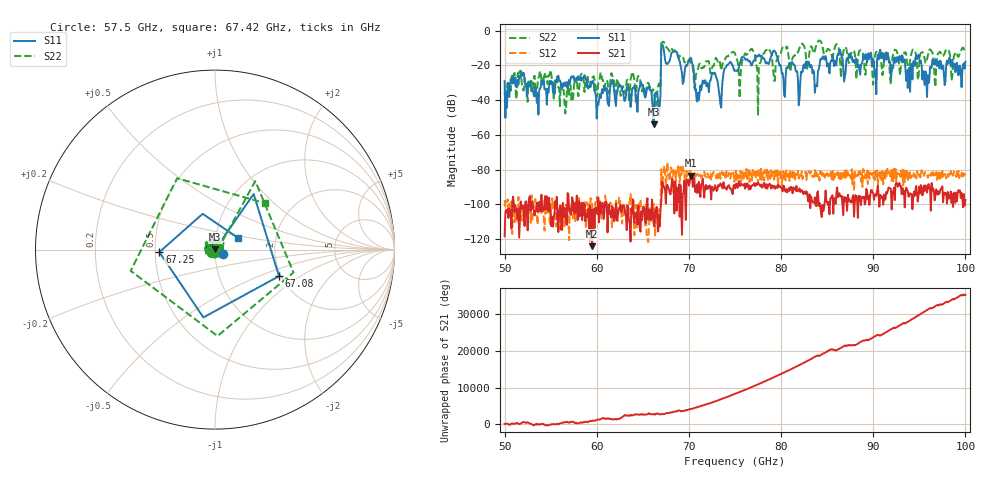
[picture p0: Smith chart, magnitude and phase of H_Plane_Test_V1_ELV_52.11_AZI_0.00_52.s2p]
! 11/27/2026 8:36:30 AM
! C:\ANRITSUVNA\TEMP\TEMP.S2P
! CHANNEL.1
! TR.MEASUREMENT
! RAW.DATA
# HZ S RI R 50.0
! FREQ.HZ  S11RE  S11IM  S21RE  S21IM  S12RE  S12IM  S22RE  S22IM
!; PortSelection: Port_12
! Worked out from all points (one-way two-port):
!   601 points, 50 GHz to 100 GHz, reference 50 ohm
!   highest |S21| = -83.41 dB at 70.25 GHz (marker M1); lowest = -124.0 dB at 59.5 GHz (marker M2)
!   lowest |S11| = -53.8 dB at 66.17 GHz (marker M3), VSWR 1.00, Z = 50.1 + j0.15 ohm
!   |S11| at or under -10 dB: start of sweep to 67 GHz; 67.24 GHz to end of sweep
!   |S22| runs from -48.9 to -5.6 dB; largest |S21 - S12| = 0.0002
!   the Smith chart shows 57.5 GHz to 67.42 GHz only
!   S11 on the Smith chart (normalised r, x): 57.5 GHz: 1.09, -0.05; 67.08 GHz: 1.95, -0.68; 67.25 GHz: 0.53, -0.02; 67.42 GHz: 1.29, +0.17
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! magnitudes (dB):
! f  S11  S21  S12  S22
! 50 GHz  -29.0  -118.3  -97.5  -35.3
! 57.5 GHz  -26.1  -103.9  -101.8  -34.5
! 58.42 GHz  -27.1  -109.0  -99.0  -24.8
! 59.5 GHz  -30.3  -124.0  -100.0  -27.0
! 66.17 GHz  -53.8  -110.6  -99.7  -34.0
! 66.67 GHz  -41.8  -115.6  -103.9  -31.6
! 67.08 GHz  -8.3  -86.8  -93.8  -6.8
! 67.25 GHz  -10.2  -90.0  -81.4  -6.3
! 67.42 GHz  -16.8  -92.0  -82.3  -8.4
! 70.25 GHz  -16.0  -83.4  -85.0  -18.7
! 70.92 GHz  -40.8  -88.2  -82.3  -23.1
! 75 GHz  -23.1  -90.8  -83.7  -13.0
! 77.58 GHz  -13.8  -88.1  -80.1  -21.7
! 78.5 GHz  -18.2  -90.9  -80.0  -10.8
! 79.33 GHz  -11.7  -90.9  -80.5  -28.8
! 80.25 GHz  -27.9  -89.0  -80.9  -9.4
! 83.42 GHz  -24.6  -98.6  -84.1  -10.8
! 91.67 GHz  -16.7  -90.2  -82.1  -15.2
! 93.75 GHz  -33.0  -92.4  -85.9  -21.4
! 94.83 GHz  -14.9  -98.2  -82.6  -28.3
! 95.83 GHz  -38.1  -93.2  -82.5  -16.4
! 100 GHz  -17.8  -97.4  -82.4  -12.5
